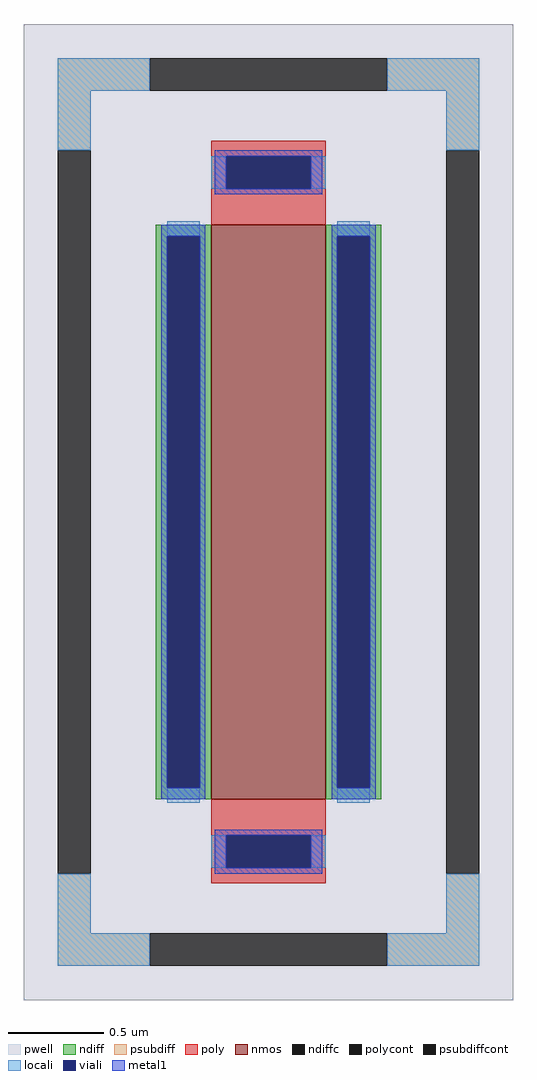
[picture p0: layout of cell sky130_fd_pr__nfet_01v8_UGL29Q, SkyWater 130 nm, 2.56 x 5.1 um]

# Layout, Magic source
magic
tech sky130A
<< pwell >>
rect -128 -255 128 255
<< nmos >>
rect -30 -150 30 150
<< ndiff >>
rect -59 144 -30 150
rect -59 -144 -53 144
rect -36 -144 -30 144
rect -59 -150 -30 -144
rect 30 144 59 150
rect 30 -144 36 144
rect 53 -144 59 144
rect 30 -150 59 -144
<< ndiffc >>
rect -53 -144 -36 144
rect 36 -144 53 144
<< psubdiff >>
rect -110 220 -62 237
rect 62 220 110 237
rect -110 189 -93 220
rect 93 189 110 220
rect -110 -220 -93 -189
rect 93 -220 110 -189
rect -110 -237 -62 -220
rect 62 -237 110 -220
<< psubdiffcont >>
rect -62 220 62 237
rect -110 -189 -93 189
rect 93 -189 110 189
rect -62 -237 62 -220
<< poly >>
rect -30 186 30 194
rect -30 169 -22 186
rect 22 169 30 186
rect -30 150 30 169
rect -30 -169 30 -150
rect -30 -186 -22 -169
rect 22 -186 30 -169
rect -30 -194 30 -186
<< polycont >>
rect -22 169 22 186
rect -22 -186 22 -169
<< locali >>
rect -110 220 -62 237
rect 62 220 110 237
rect -110 189 -93 220
rect 93 189 110 220
rect -30 169 -22 186
rect 22 169 30 186
rect -53 144 -36 152
rect -53 -152 -36 -144
rect 36 144 53 152
rect 36 -152 53 -144
rect -30 -186 -22 -169
rect 22 -186 30 -169
rect -110 -220 -93 -189
rect 93 -220 110 -189
rect -110 -237 -62 -220
rect 62 -237 110 -220
<< viali >>
rect -22 169 22 186
rect -53 -144 -36 144
rect 36 -144 53 144
rect -22 -186 22 -169
<< metal1 >>
rect -28 186 28 189
rect -28 169 -22 186
rect 22 169 28 186
rect -28 166 28 169
rect -56 144 -33 150
rect -56 -144 -53 144
rect -36 -144 -33 144
rect -56 -150 -33 -144
rect 33 144 56 150
rect 33 -144 36 144
rect 53 -144 56 144
rect 33 -150 56 -144
rect -28 -169 28 -166
rect -28 -186 -22 -169
rect 22 -186 28 -169
rect -28 -189 28 -186
<< properties >>
string gencell sky130_fd_pr__nfet_01v8
string FIXED_BBOX -101 -228 101 228
string parameters w 3.0 l 0.6 m 1 nf 1 diffcov 100 polycov 100 guard 1 glc 1 grc 1 gtc 1 gbc 1 tbcov 100 rlcov 100 topc 1 botc 1 poverlap 0 doverlap 1 lmin 0.15 wmin 0.42 compatible {sky130_fd_pr__nfet_01v8 sky130_fd_pr__nfet_01v8_lvt  sky130_fd_bs_flash__special_sonosfet_star  sky130_fd_pr__nfet_g5v0d10v5 sky130_fd_pr__nfet_05v0_nvt} full_metal 1 viasrc 100 viadrn 100 viagate 100 viagb 0 viagr 0 viagl 0 viagt 0
string library sky130
<< end >>
